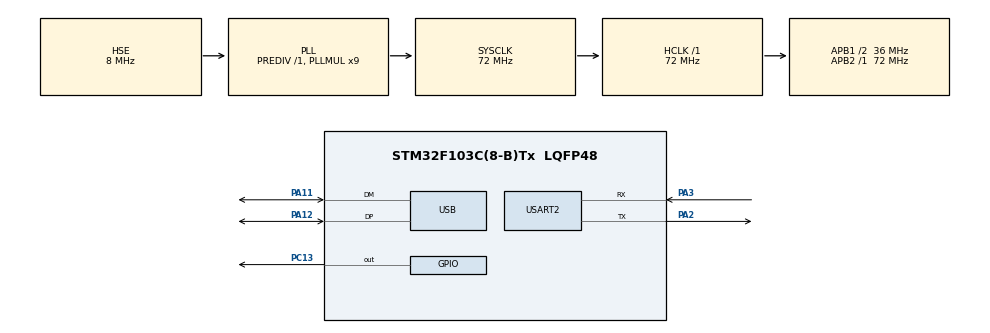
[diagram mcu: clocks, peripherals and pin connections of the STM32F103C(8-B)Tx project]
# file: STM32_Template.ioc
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Dma.Request0=USART2_RX
Dma.Request1=USART2_TX
Dma.USART2_RX.0.Direction=DMA_PERIPH_TO_MEMORY
Dma.USART2_RX.0.Instance=DMA1_Channel6
Dma.USART2_RX.0.MemDataAlignment=DMA_MDATAALIGN_BYTE
Dma.USART2_RX.0.MemInc=DMA_MINC_ENABLE
Dma.USART2_RX.0.Mode=DMA_NORMAL
Dma.USART2_RX.0.PeriphDataAlignment=DMA_PDATAALIGN_BYTE
Dma.USART2_RX.0.PeriphInc=DMA_PINC_DISABLE
Dma.USART2_RX.0.Priority=DMA_PRIORITY_LOW
Dma.USART2_TX.1.Direction=DMA_MEMORY_TO_PERIPH
Dma.USART2_TX.1.Instance=DMA1_Channel7
Dma.USART2_TX.1.MemDataAlignment=DMA_MDATAALIGN_BYTE
Dma.USART2_TX.1.MemInc=DMA_MINC_ENABLE
Dma.USART2_TX.1.Mode=DMA_NORMAL
Dma.USART2_TX.1.PeriphDataAlignment=DMA_PDATAALIGN_BYTE
Dma.USART2_TX.1.PeriphInc=DMA_PINC_DISABLE
Dma.USART2_TX.1.Priority=DMA_PRIORITY_LOW
Mcu.Family=STM32F1
Mcu.Name=STM32F103C(8-B)Tx
Mcu.Package=LQFP48
NVIC.DMA1_Channel6_IRQn=true\:0\:0\:false\:false\:true\:false\:true\:true
NVIC.DMA1_Channel7_IRQn=true\:0\:0\:false\:false\:true\:false\:true\:true
NVIC.PriorityGroup=NVIC_PRIORITYGROUP_4
NVIC.USART2_IRQn=true\:0\:0\:false\:false\:true\:true\:true\:true
NVIC.USB_LP_CAN1_RX0_IRQn=true\:0\:0\:false\:false\:true\:false\:true\:true
PA11.Mode=Device
PA11.Signal=USB_DM
PA12.Mode=Device
PA12.Signal=USB_DP
PA13.Mode=Serial_Wire
PA13.Signal=SYS_JTMS-SWDIO
PA14.Mode=Serial_Wire
PA14.Signal=SYS_JTCK-SWCLK
PA2.Mode=Asynchronous
PA2.Signal=USART2_TX
PA3.Mode=Asynchronous
PA3.Signal=USART2_RX
PC13-TAMPER-RTC.PinState=GPIO_PIN_SET
PC13-TAMPER-RTC.Signal=GPIO_Output
PD0-OSC_IN.Mode=HSE-External-Oscillator
PD0-OSC_IN.Signal=RCC_OSC_IN
PD1-OSC_OUT.Mode=HSE-External-Oscillator
PD1-OSC_OUT.Signal=RCC_OSC_OUT
ProjectManager.HeapSize=0x200
ProjectManager.StackSize=0x400
ProjectManager.TargetToolchain=CMake
RCC.AHBFreq_Value=72000000
RCC.APB1CLKDivider=RCC_HCLK_DIV2
RCC.APB1Freq_Value=36000000
RCC.APB1TimFreq_Value=72000000
RCC.APB2Freq_Value=72000000
RCC.APB2TimFreq_Value=72000000
RCC.HCLKFreq_Value=72000000
RCC.PLLMUL=RCC_PLL_MUL9
RCC.PLLSourceVirtual=RCC_PLLSOURCE_HSE
RCC.SYSCLKFreq_VALUE=72000000
RCC.SYSCLKSource=RCC_SYSCLKSOURCE_PLLCLK
RCC.USBFreq_Value=48000000
RCC.USBPrescaler=RCC_USBCLKSOURCE_PLL_DIV1_5
USART2.VirtualMode=VM_ASYNC
USB_DEVICE.CLASS_NAME_FS=CDC
USB_DEVICE.VirtualMode=Cdc
USB_DEVICE.VirtualModeFS=Cdc_FS
VP_USB_DEVICE_VS_USB_DEVICE_CDC_FS.Mode=CDC_FS
board=custom

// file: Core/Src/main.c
/* USER CODE BEGIN Header */
/**
  ******************************************************************************
  * @file           : main.c
  * @brief          : Main program body
  ******************************************************************************
  * @attention
  *
  * Copyright (c) 2024 STMicroelectronics.
  * All rights reserved.
  *
  * This software is licensed under terms that can be found in the LICENSE file
  * in the root directory of this software component.
  * If no LICENSE file comes with this software, it is provided AS-IS.
  *
  ******************************************************************************
  */
/* USER CODE END Header */
#include "main.h"
#include "dma.h"
#include "usart.h"
#include "usb_device.h"
#include "gpio.h"

/* USER CODE BEGIN Includes */
#include "stdio.h"
#include <string.h>
#include <usbd_cdc_if.h>
#include "Serial_Analysis.h"
/* USER CODE END Includes */

/* USER CODE BEGIN PD */
#define BUFF_SIZE	100

uint8_t rx_buff[BUFF_SIZE];
/* USER CODE END PD */

void SystemClock_Config(void);

/* USER CODE BEGIN 0 */
uint8_t data = 0;
float p = 3.14150;
/* USER CODE END 0 */

int main(void)
{

  /* MCU Configuration--------------------------------------------------------*/

  /* Reset of all peripherals, Initializes the Flash interface and the Systick. */
  HAL_Init();

  /* Configure the system clock */
  SystemClock_Config();

  /* USER CODE BEGIN SysInit */
  USB_Reset();
  /* USER CODE END SysInit */

  /* Initialize all configured peripherals */
  MX_GPIO_Init();
  MX_DMA_Init();
  MX_USB_DEVICE_Init();
  MX_USART2_UART_Init();
  /* USER CODE BEGIN 2 */
  HAL_UARTEx_ReceiveToIdle_DMA(&huart2, rx_buff, BUFF_SIZE);
  __HAL_DMA_DISABLE_IT(&hdma_usart2_rx, DMA_IT_HT);		   // 手动关闭DMA_IT_HT中断
  /* USER CODE END 2 */

  /* Infinite loop */
  while (1)
  {

    /* USER CODE BEGIN 3 */
    // HAL_GPIO_TogglePin(GPIOC, GPIO_PIN_13);
    // HAL_GPIO_WritePin(GPIOC, GPIO_PIN_13, GPIO_PIN_RESET);
    // printf("pai:%.5f\r\n",p);
    // printf("a=%d\r\n",data);
    // HAL_Delay(1000);
    // data+=20;
    // printf("a=%d\r\n",data);
    // HAL_Delay(1000);
    // data-=20;
    // Frame rx_frame;
    Frame tx_frame;
    // uint8_t rx_data[64];
    uint8_t tx_data[] = {0x01, 0x02, 0x03, 0x04, 0x05, 0x06, 0x07, 0x08, 0x09, 0x0A, 0x0B, 0x0C, 0x0D, 0x0E, 0x0F};
    uint16_t function_code = 0x0001;

    CreateFrame(function_code, tx_data, sizeof(tx_data), &tx_frame);
    CDC_Transmit_FS(tx_frame.frame, tx_frame.length);

		// if(USB_RX_STA!=0)//判断是否有数据到来
		// {
      // USB_RX_BUF[0] = '0';
      // USB_RX_BUF[1] = '1';
      // USB_RX_BUF[2] = '2';
      // USB_RX_BUF[3] = '3';
      // USB_RX_STA = 4;
			// USB_printf("USB_RX:");//向USB模拟串口发字符串
      // static int count = 0;
			// CDC_Transmit_FS(USB_RX_BUF,USB_RX_STA);//USB串口：将接收的数据发回给电脑端
			// USB_printf("\r\n");//向USB模拟串口发（回车）
    //   printf("USB_RX count:%d\r\n",count);
    //   count++;
		// 	USB_RX_STA=0;//数据标志位清0
		// 	memset(USB_RX_BUF,0,sizeof(USB_RX_BUF));//USB串口数据寄存器清0
		// }
    HAL_Delay(50);
  }
  /* USER CODE END 3 */
}

void SystemClock_Config(void)
{
  RCC_OscInitTypeDef RCC_OscInitStruct = {0};
  RCC_ClkInitTypeDef RCC_ClkInitStruct = {0};
  RCC_PeriphCLKInitTypeDef PeriphClkInit = {0};

  /** Initializes the RCC Oscillators according to the specified parameters
  * in the RCC_OscInitTypeDef structure.
  */
  RCC_OscInitStruct.OscillatorType = RCC_OSCILLATORTYPE_HSE;
  RCC_OscInitStruct.HSEState = RCC_HSE_ON;
  RCC_OscInitStruct.HSEPredivValue = RCC_HSE_PREDIV_DIV1;
  RCC_OscInitStruct.HSIState = RCC_HSI_ON;
  RCC_OscInitStruct.PLL.PLLState = RCC_PLL_ON;
  RCC_OscInitStruct.PLL.PLLSource = RCC_PLLSOURCE_HSE;
  RCC_OscInitStruct.PLL.PLLMUL = RCC_PLL_MUL9;
  if (HAL_RCC_OscConfig(&RCC_OscInitStruct) != HAL_OK)
  {
    Error_Handler();
  }

  /** Initializes the CPU, AHB and APB buses clocks
  */
  RCC_ClkInitStruct.ClockType = RCC_CLOCKTYPE_HCLK|RCC_CLOCKTYPE_SYSCLK
                              |RCC_CLOCKTYPE_PCLK1|RCC_CLOCKTYPE_PCLK2;
  RCC_ClkInitStruct.SYSCLKSource = RCC_SYSCLKSOURCE_PLLCLK;
  RCC_ClkInitStruct.AHBCLKDivider = RCC_SYSCLK_DIV1;
  RCC_ClkInitStruct.APB1CLKDivider = RCC_HCLK_DIV2;
  RCC_ClkInitStruct.APB2CLKDivider = RCC_HCLK_DIV1;

  if (HAL_RCC_ClockConfig(&RCC_ClkInitStruct, FLASH_LATENCY_2) != HAL_OK)
  {
    Error_Handler();
  }
  PeriphClkInit.PeriphClockSelection = RCC_PERIPHCLK_USB;
  PeriphClkInit.UsbClockSelection = RCC_USBCLKSOURCE_PLL_DIV1_5;
  if (HAL_RCCEx_PeriphCLKConfig(&PeriphClkInit) != HAL_OK)
  {
    Error_Handler();
  }
}

/* USER CODE BEGIN 4 */
void HAL_UARTEx_RxEventCallback(UART_HandleTypeDef * huart, uint16_t Size)
{
    if(huart->Instance == USART2)
    {
        if (Size <= BUFF_SIZE)
        {
            HAL_UARTEx_ReceiveToIdle_DMA(&huart2, rx_buff, BUFF_SIZE); // 接收完毕后重启
            HAL_UART_Transmit(&huart2, rx_buff, Size, 0xffff);         // 将接收到的数据再发出
            __HAL_DMA_DISABLE_IT(&hdma_usart2_rx, DMA_IT_HT);		   // 手动关闭DMA_IT_HT过半中断
            memset(rx_buff, 0, BUFF_SIZE);							   // 清除接收缓存
        }
        else  // 接收数据长度大于BUFF_SIZE，错误处理
        {
            fprintf(stderr, "DMA transmit is overflowed");
//			return -1; //异常退出
        }
    }
}

void HAL_UART_ErrorCallback(UART_HandleTypeDef * huart)
{
    if(huart->Instance == USART2)
    {
		HAL_UARTEx_ReceiveToIdle_DMA(&huart2, rx_buff, BUFF_SIZE); // 接收发生错误后重启
		__HAL_DMA_DISABLE_IT(&hdma_usart2_rx, DMA_IT_HT);		   // 手动关闭DMA_IT_HT中断
		memset(rx_buff, 0, BUFF_SIZE);							   // 清除接收缓存

    }
}
/* USER CODE END 4 */

void Error_Handler(void)
{
  __disable_irq();
  while (1)
  {
  }
}
